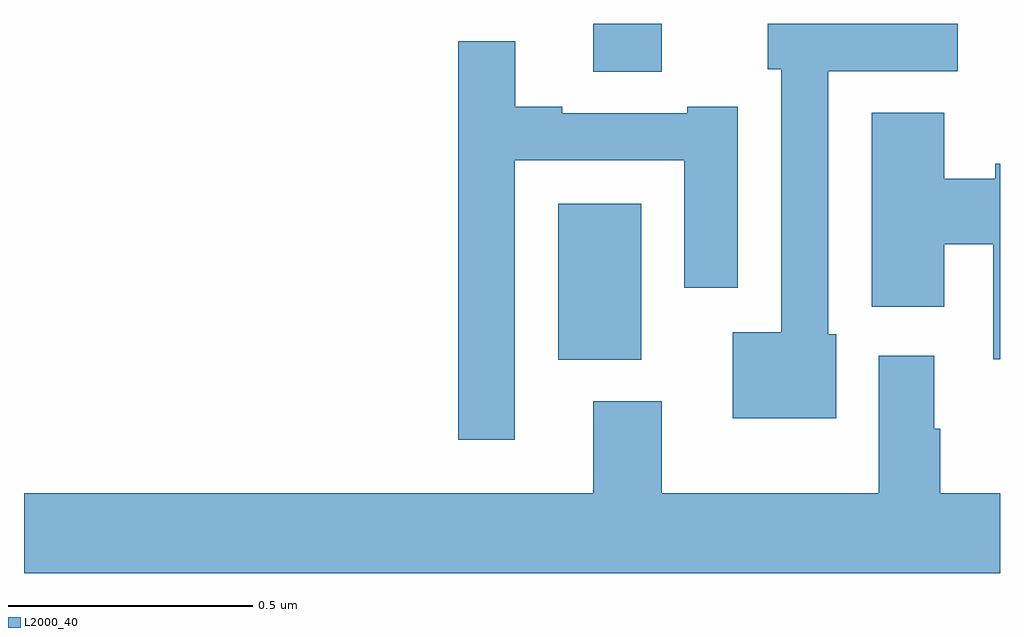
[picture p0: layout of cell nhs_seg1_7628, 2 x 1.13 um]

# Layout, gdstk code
import gdstk
lib = gdstk.Library(unit=1e-6, precision=1e-09)
def R(c, l, rs):  # rectangles x0, y0, x1, y1
    for r in rs: c.add(gdstk.rectangle(r[:2], r[2:], *l))
def P(c, l, *ps):  # polygons
    for p in ps: c.add(gdstk.Polygon(p, *l))
L2000_40 = (2000, 40)

nhs_seg1_7628 = lib.new_cell('nhs_seg1_7628')
R(nhs_seg1_7628, L2000_40, [(207.095,545.51,207.265,545.83), (207.167,546.1,207.307,546.199)])
P(nhs_seg1_7628, L2000_40, [(207.664,545.562),(207.648,545.562),(207.648,546.101),(207.913,546.101),(207.913,546.199),(207.524,546.199),(207.524,546.105),(207.552,546.105),(207.552,545.566),(207.452,545.566),(207.452,545.39),(207.664,545.39)],
  [(207.006,545.919),(207.353,545.919),(207.353,545.658),(207.463,545.658),(207.463,546.028),(207.359,546.028),(207.359,546.015),(207.103,546.015),(207.103,546.028),(207.007,546.028),(207.007,546.163),(206.89,546.163),(206.89,545.346),(207.006,545.346)],
  [(208,545.912),(207.99,545.912),(207.99,545.881),(207.886,545.881),(207.886,546.016),(207.737,546.016),(207.737,545.619),(207.886,545.619),(207.886,545.747),(207.986,545.747),(207.986,545.511),(208,545.511)],
  [(208,545.236),(207.878,545.236),(207.878,545.369),(207.865,545.369),(207.865,545.518),(207.752,545.518),(207.752,545.236),(207.307,545.236),(207.307,545.425),(207.167,545.425),(207.167,545.236),(206,545.236),(206,545.072),(208,545.072)])

lib.write_gds('nhs_seg1_7628.gds')
